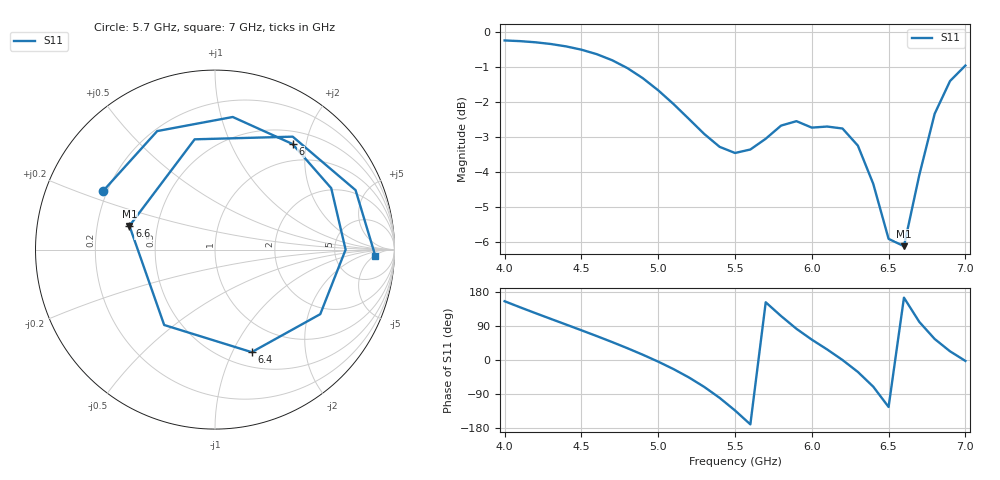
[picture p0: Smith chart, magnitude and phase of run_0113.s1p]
! Touchstone file exported from HFSS 2024.2.0
!  File:  C:/Users/wsak9/Desktop/Sim Fast/Widenad Patch/WP_AI_V1_sweep.aedt
!  Generated:  07:37:32 PM Oct 13, 2026
!  Design:  A1_model
!  Project:  WP_AI_V1_sweep
!  Setup:  Setup1
!  Solution:  Sweep
! Variables:
!  Air_gap = 2.79mm
!  Curve_Amp1 = 2.2
!  Curve_len1 = 1
!  Curve_pos = 9.655mm
!  Extra = 1.25mm
!  H_sub = 0.79mm
!  L_Patch = 15.31mm
!  L_Patch1 = 18.07mm
!  Sx = 4.68mm
!  Sy = 3.7mm
!  WS = 1.01mm
!  W_Patch = 10.73mm
!  W_Patch1 = 16.82mm
!Data is not renormalized
# GHz S MA
! Terminal data exported
! Port[1] = 1
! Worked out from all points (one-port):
!   31 points, 4 GHz to 7 GHz, reference per port
!   lowest |S11| = -6.1 dB at 6.6 GHz (marker M1), VSWR 2.96
!   |S11| at or under -10 dB: nowhere
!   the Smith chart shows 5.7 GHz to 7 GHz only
!   S11 on the Smith chart (normalised r, x): 5.7 GHz: 0.18, +0.24; 6 GHz: 0.70, +1.76; 6.4 GHz: 0.66, -1.19; 6.6 GHz: 0.34, +0.12; 7 GHz: 16, -6
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4  0.9715 155.1
4.2  0.9657 123.8
4.4  0.9528 93.6
4.5  0.9425 78.5
4.6  0.9287 63.1
4.8  0.8871 31.0
4.9  0.8583 13.9
5  0.8249 -4.3
5.1  0.7884 -24.1
5.2  0.7509 -46.1
5.3  0.7147 -71.1
5.4  0.6852 -100.0
5.5  0.6715 -133.1
5.6  0.6793 -169.9
5.7  0.7036 152.3
5.8  0.7347 116.0
5.9  0.7455 82.4
6  0.7298 53.7
6.1  0.7324 27.8
6.2  0.7277 -0.0
6.3  0.6879 -31.5
6.4  0.6069 -70.3
6.5  0.5066 -124.0
6.6  0.4946 164.5
6.7  0.6248 100.5
6.8  0.7638 55.5
6.9  0.8504 22.9
7  0.8947 -2.4
